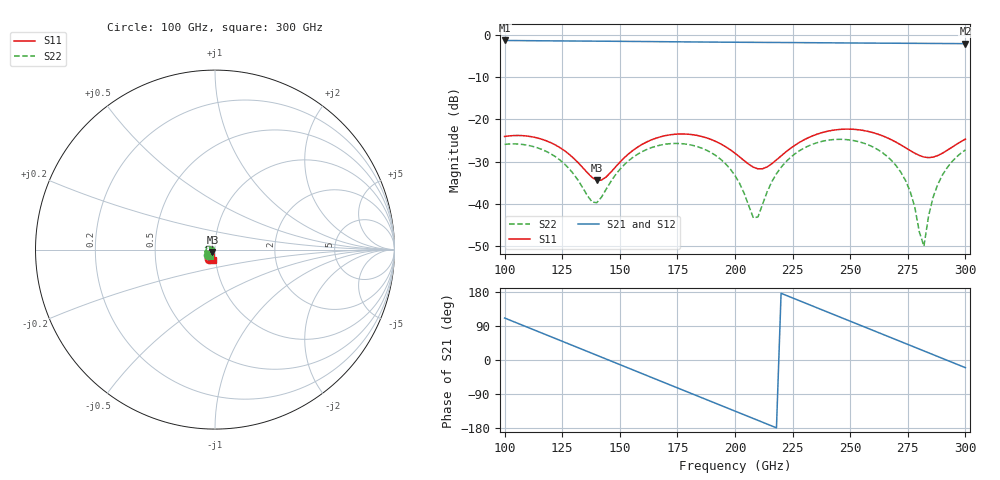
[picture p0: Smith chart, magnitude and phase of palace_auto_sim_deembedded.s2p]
! Created with skrf 1.11.0 (http://scikit-rf.org).
# GHz S DB R 50.0
!freq dBS11 angS11 dBS21 angS21 dBS12 angS12 dBS22 angS22
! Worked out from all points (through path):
!   101 points, 100 GHz to 300 GHz, reference 50 ohm
!   highest |S21| = -1.39 dB at 100 GHz (marker M1); lowest = -2.1 dB at 300 GHz (marker M2)
!   group delay of S21, straight-line fit = 6.82 ps
!   lowest |S11| = -34.4 dB at 140 GHz (marker M3), VSWR 1.04, Z = 48.6 - j1.24 ohm
!   |S11| at or under -10 dB: start of sweep to end of sweep
!   |S22| runs from -50.0 to -24.7 dB; largest |S21 - S12| = 1.4e-13
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100  -24.08 -120.5  -1.39 110.8  -1.39 110.8  -25.94 -142.7
116  -24.70 -150.3  -1.46 71.5  -1.46 71.5  -27.10 -178.3
126  -27.43 -163.7  -1.50 47.0  -1.50 47.0  -30.57 164.2
134  -31.48 -162.1  -1.53 27.3  -1.53 27.3  -36.26 165.8
140  -34.41 -137.7  -1.55 12.5  -1.55 12.5  -39.72 -150.4
154  -28.10 -97.8  -1.61 -21.9  -1.61 -21.9  -29.72 -122.9
168  -24.10 -114.4  -1.67 -56.4  -1.67 -56.4  -26.06 -150.1
184  -23.87 -140.0  -1.75 -95.6  -1.75 -95.6  -26.53 174.3
192  -25.33 -150.3  -1.78 -115.2  -1.78 -115.2  -28.71 157.4
200  -28.03 -153.9  -1.81 -134.9  -1.81 -134.9  -33.31 145.2
208  -31.34 -138.2  -1.83 -154.5  -1.83 -154.5  -43.34 -179.9
210  -31.73 -129.9  -1.84 -159.4  -1.84 -159.4  -43.05 -144.0
216  -30.50 -106.0  -1.86 -174.1  -1.86 -174.1  -34.74 -112.5
220  -28.67 -98.3  -1.87 176.0  -1.87 176.0  -31.36 -115.6
234  -23.85 -103.8  -1.92 141.7  -1.92 141.7  -25.84 -143.3
252  -22.40 -128.5  -1.99 97.5  -1.99 97.5  -25.09 174.7
268  -24.88 -145.0  -2.04 58.3  -2.04 58.3  -29.78 138.1
276  -27.39 -142.3  -2.06 38.7  -2.06 38.7  -37.01 125.0
282  -28.93 -129.1  -2.08 23.9  -2.08 23.9  -49.99 -144.6
284  -29.07 -122.9  -2.08 19.0  -2.08 19.0  -42.91 -109.6
288  -28.58 -110.9  -2.10 9.2  -2.10 9.2  -35.41 -105.8
300  -24.69 -98.9  -2.14 -20.2  -2.14 -20.2  -27.23 -129.6
